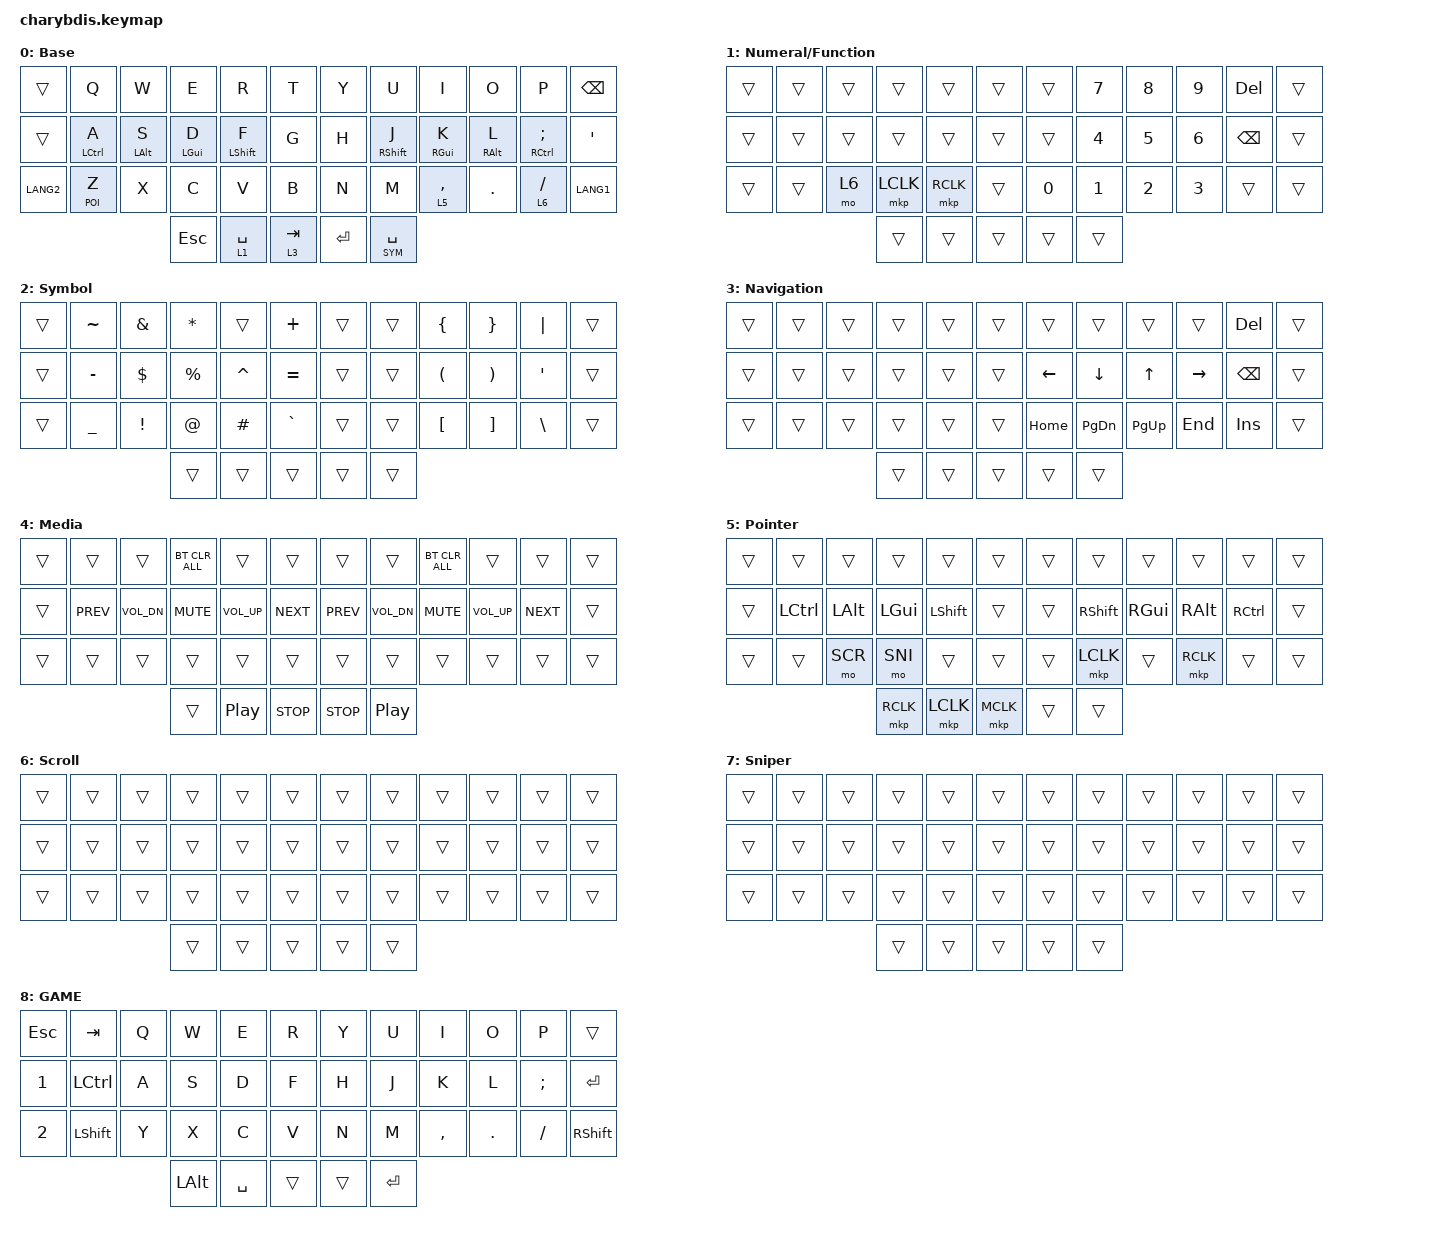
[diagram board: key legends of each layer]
#include <behaviors/mouse_keys.dtsi>
#include <dt-bindings/zmk/mouse.h>
#include <behaviors.dtsi>
#include <dt-bindings/zmk/bt.h>
#include <dt-bindings/zmk/keys.h>

#define BASE 0
#define NUFU 1
#define SYM 2
#define NAV 3
#define MED 4
#define POI 5
#define SCR 6
#define SNI 7

&sl { release-after-ms = <250>; };

&mt {
    tapping-term-ms = <200>;
    require-prior-idle-ms = <150>;
};

/ {
    chosen { zmk,matrix_transform = &default_transform; };

    behaviors {
        hml: homewrow_mods_left {
            compatible = "zmk,behavior-hold-tap";
            label = "HOMEROW_MODS_LEFT_HAND";
            bindings = <&kp>, <&kp>;

            #binding-cells = <2>;
            tapping-term-ms = <280>;
            hold-trigger-key-positions = <6 7 8 9 18 33 34 20 19 10 11 22 23 34 35 18 19 20 21 30 31 32 33 39 40>;
            flavor = "balanced";
            quick-tap-ms = <175>;
            require-prior-idle-ms = <125>;
            hold-trigger-on-release;
        };

        hmr: homewrow_mods_right {
            compatible = "zmk,behavior-hold-tap";
            label = "HOMEROW_MODS_RIGHT_HAND";
            bindings = <&kp>, <&kp>;

            #binding-cells = <2>;
            tapping-term-ms = <280>;
            hold-trigger-key-positions = <0 1 2 3 4 12 13 14 24 0 1 2 4 5 12 13 14 15 16 17 24 25 26 27 28 29 36 37 38>;
            flavor = "balanced";
            quick-tap-ms = <175>;
            require-prior-idle-ms = <125>;
            hold-trigger-on-release;
        };
    };

    combos {
        compatible = "zmk,combos";

        left_click {
            bindings = <&mkp LCLK>;
            key-positions = <31 32>;
            layers = <0>;
        };

        right_click {
            bindings = <&mkp RCLK>;
            key-positions = <32 33>;
            layers = <0>;
        };

        toggle_game_layer {
            bindings = <&tog 8>;
            key-positions = <0 11>;
        };
    };

    keymap {
        compatible = "zmk,keymap";

        Base {
            label = "Base";
            bindings = <
&trans     &kp Q         &kp W        &kp E        &kp R         &kp T        &kp Y      &kp U          &kp I        &kp O        &kp P                 &kp BACKSPACE
&trans     &hml LCTRL A  &hml LALT S  &hml LGUI D  &hml LSHFT F  &kp G        &kp H      &hmr RSHFT J   &hmr RGUI K  &hmr RALT L  &hmr RCTRL SEMICOLON  &kp SINGLE_QUOTE
&kp LANG2  &lt POI Z     &kp X        &kp C        &kp V         &kp B        &kp N      &kp M          &lt 5 COMMA  &kp DOT      &lt 6 SLASH           &kp LANG1
                                      &kp ESC      &lt 1 SPACE   &lt 3 TAB    &kp ENTER  &lt SYM SPACE
            >;
        };

        NuFu {
            label = "Numeral/Function";
            bindings = <
&trans  &trans  &trans  &trans     &trans     &trans    &trans  &kp N7  &kp N8  &kp N9  &kp DELETE     &trans
&trans  &trans  &trans  &trans     &trans     &trans    &trans  &kp N4  &kp N5  &kp N6  &kp BACKSPACE  &trans
&trans  &trans  &mo 6   &mkp LCLK  &mkp RCLK  &trans    &kp N0  &kp N1  &kp N2  &kp N3  &trans         &trans
                        &trans     &trans     &trans    &trans  &trans
            >;
        };

        Symbol {
            label = "Symbol";
            bindings = <
&trans  &kp TILDE  &kp AMPS  &kp STAR   &trans     &kp PLUS     &trans  &trans  &kp LEFT_BRACE        &kp RIGHT_BRACE        &kp PIPE  &trans
&trans  &kp MINUS  &kp DLLR  &kp PRCNT  &kp CARET  &kp EQUAL    &trans  &trans  &kp LEFT_PARENTHESIS  &kp RIGHT_PARENTHESIS  &kp APOS  &trans
&trans  &kp UNDER  &kp EXCL  &kp AT     &kp HASH   &kp GRAVE    &trans  &trans  &kp LEFT_BRACKET      &kp RIGHT_BRACKET      &kp BSLH  &trans
                             &trans     &trans     &trans       &trans  &trans
            >;
        };

        Navigation {
            label = "Navigation";
            bindings = <
&trans  &trans  &trans  &trans  &trans  &trans    &trans    &trans         &trans       &trans     &kp DELETE     &trans
&trans  &trans  &trans  &trans  &trans  &trans    &kp LEFT  &kp DOWN       &kp UP       &kp RIGHT  &kp BACKSPACE  &trans
&trans  &trans  &trans  &trans  &trans  &trans    &kp HOME  &kp PAGE_DOWN  &kp PAGE_UP  &kp END    &kp INS        &trans
                        &trans  &trans  &trans    &trans    &trans
            >;
        };

        Media {
            label = "Media";
            bindings = <
&trans  &trans      &trans        &bt BT_CLR_ALL  &trans            &trans        &trans      &trans            &bt BT_CLR_ALL  &trans        &trans      &trans
&trans  &kp C_PREV  &kp C_VOL_DN  &kp C_MUTE      &kp C_VOL_UP      &kp C_NEXT    &kp C_PREV  &kp C_VOL_DN      &kp C_MUTE      &kp C_VOL_UP  &kp C_NEXT  &trans
&trans  &trans      &trans        &trans          &trans            &trans        &trans      &trans            &trans          &trans        &trans      &trans
                                  &trans          &kp C_PLAY_PAUSE  &kp C_STOP    &kp C_STOP  &kp C_PLAY_PAUSE
            >;
        };

        Pointer {
            label = "Pointer";
            bindings = <
&trans  &trans     &trans    &trans     &trans     &trans       &trans  &trans     &trans    &trans     &trans     &trans
&trans  &kp LCTRL  &kp LALT  &kp LGUI   &kp LSHFT  &trans       &trans  &kp RSHFT  &kp RGUI  &kp RALT   &kp RCTRL  &trans
&trans  &trans     &mo SCR   &mo SNI    &trans     &trans       &trans  &mkp LCLK  &trans    &mkp RCLK  &trans     &trans
                             &mkp RCLK  &mkp LCLK  &mkp MCLK    &trans  &trans
            >;
        };

        Scroll {
            label = "Scroll";
            bindings = <
&trans  &trans  &trans  &trans  &trans  &trans    &trans  &trans  &trans  &trans  &trans  &trans
&trans  &trans  &trans  &trans  &trans  &trans    &trans  &trans  &trans  &trans  &trans  &trans
&trans  &trans  &trans  &trans  &trans  &trans    &trans  &trans  &trans  &trans  &trans  &trans
                        &trans  &trans  &trans    &trans  &trans
            >;
        };

        Sniper {
            label = "Sniper";
            bindings = <
&trans  &trans  &trans  &trans  &trans  &trans    &trans  &trans  &trans  &trans  &trans  &trans
&trans  &trans  &trans  &trans  &trans  &trans    &trans  &trans  &trans  &trans  &trans  &trans
&trans  &trans  &trans  &trans  &trans  &trans    &trans  &trans  &trans  &trans  &trans  &trans
                        &trans  &trans  &trans    &trans  &trans
            >;
        };

        GAME {
            bindings = <
&kp ESCAPE    &kp TAB     &kp Q  &kp W     &kp E      &kp R     &kp Y   &kp U      &kp I      &kp O       &kp P          &trans
&kp NUMBER_1  &kp LCTRL   &kp A  &kp S     &kp D      &kp F     &kp H   &kp J      &kp K      &kp L       &kp SEMICOLON  &kp ENTER
&kp NUMBER_2  &kp LSHIFT  &kp Y  &kp X     &kp C      &kp V     &kp N   &kp M      &kp COMMA  &kp PERIOD  &kp SLASH      &kp RSHIFT
                                 &kp LALT  &kp SPACE  &trans    &trans  &kp ENTER
            >;
        };
    };
};
